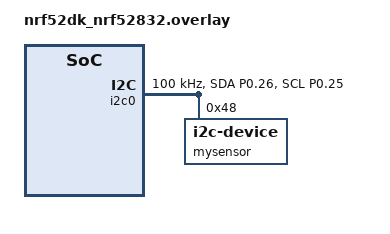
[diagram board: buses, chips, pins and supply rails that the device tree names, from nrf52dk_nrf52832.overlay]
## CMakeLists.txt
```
# SPDX-License-Identifier: Apache-2.0

cmake_minimum_required(VERSION 3.20.0)
find_package(Zephyr REQUIRED HINTS $ENV{ZEPHYR_BASE})
project(blinky)

target_sources(app PRIVATE src/main.c)
# zephyr_library_sources(
#     src/ads1115.c
# )
```

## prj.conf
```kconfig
CONFIG_GPIO=y
CONFIG_I2C=y
CONFIG_FPU=y
```

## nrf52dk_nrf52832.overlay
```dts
&i2c0 {
    compatible = "nordic,nrf-twim";
    pinctrl-0 = <&i2c0_default>;
    pinctrl-1 = <&i2c0_sleep>;
    pinctrl-names = "default", "sleep";
    status = "okay";
    clock-frequency = <I2C_BITRATE_STANDARD>;  // 100kHz I2C speed

    mysensor: mysensor@48 {
        status = "okay";
        compatible = "i2c-device";
        reg = <0x48>;        // ADS1115 default I²C address
        label = "mysensor";
        // repeatability = <2>;
    };
};
&pinctrl {
    uart0_default: uart0_default {
        group1 {
            psels = <NRF_PSEL(UART_TX, 0, 24)>,
                    <NRF_PSEL(UART_RX, 0, 23)>,
                    <NRF_PSEL(UART_RTS, 0, 5)>,
                    <NRF_PSEL(UART_CTS, 0, 7)>;
        };
    };

    uart0_sleep: uart0_sleep {
        group1 {
            psels = <NRF_PSEL(UART_TX, 0, 24)>,
                    <NRF_PSEL(UART_RX, 0, 23)>,
                    <NRF_PSEL(UART_RTS, 0, 5)>,
                    <NRF_PSEL(UART_CTS, 0, 7)>;
            low-power-enable;
        };
    };

    i2c0_default: i2c0_default {
        group1 {
            psels = <NRF_PSEL(TWIM_SDA, 0, 26)>,
                    <NRF_PSEL(TWIM_SCL, 0, 25)>;
        };
    };

    i2c0_sleep: i2c0_sleep {
        group1 {
            psels = <NRF_PSEL(TWIM_SDA, 0, 26)>,
                    <NRF_PSEL(TWIM_SCL, 0, 25)>;
            low-power-enable;
        };
    };
};
```

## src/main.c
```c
#include <zephyr/kernel.h>
#include <zephyr/device.h>
#include <zephyr/drivers/i2c.h>
#include <stdio.h>

#define ADS1115_ADDR 0x48
#define I2C0_NODE DT_NODELABEL(mysensor)
static const struct i2c_dt_spec i2c_dev = I2C_DT_SPEC_GET(I2C0_NODE);

// Configure ADS1115 for continuous mode, AIN0, ±0.512V, 250 SPS
uint16_t ads1115_read_adc()
{
    uint8_t config[3] = {0x01, 0xC3, 0x83};
    // 0xC3 = AIN0, PGA ±0.512V, continuous mode
    // 0x83 = 250 SPS (datasheet Table 8)

    uint8_t read_buf[2] = {0};
    uint8_t reg_pointer = 0x00;

    // Write config
    if (i2c_write(i2c_dev.bus, config, 3, ADS1115_ADDR) != 0)
    {
        printk("I2C write failed\n");
        return 0;
    }

    // Small delay for conversion to start
    k_sleep(K_MSEC(4)); // ~250 SPS → 4 ms per sample

    // Read conversion register
    if (i2c_write_read(i2c_dev.bus, ADS1115_ADDR, &reg_pointer, 1, read_buf, 2) != 0)
    {
        printk("I2C read failed\n");
        return 0;
    }

    return (read_buf[0] << 8) | read_buf[1];
}

void main(void)
{
    if (!i2c_dev.bus)
    {
        printk("Failed to get I2C device\n");
        return;
    }

    while (1)
    {
        uint32_t sum = 0;
        int samples = 8;  // average 8 samples for stability

        for (int i = 0; i < samples; i++)
        {
            sum += ads1115_read_adc();
            k_sleep(K_MSEC(4)); // wait one conversion at 250 SPS
        }

        uint16_t adc_value = sum / samples;
        float voltage = (adc_value * 0.512 * 2) / 32768.0f;
        // ±0.512 V full scale, so LSB = 0.000015625 V

        printk("ADC Value: %d, Voltage: %.6f V\n", adc_value, voltage);
        k_sleep(K_MSEC(100)); // print every 100 ms
    }
}

// #include <zephyr/kernel.h>
// #include <zephyr/device.h>
// #include <zephyr/devicetree.h>
// #include <zephyr/drivers/i2c.h>
// #include <zephyr/sys/printk.h>

// #define ADS1115_ADDR 0x48
// #define I2C_NODE DT_NODELABEL(mysensor)
// static const struct i2c_dt_spec i2c_dev = I2C_DT_SPEC_GET(I2C_NODE);

// #define ADS1115_REG_CONVERT 0x00
// #define ADS1115_REG_CONFIG 0x01

// // LSB for ±0.256 V range
// #define ADS1115_LSB_mV 0.0078125f // 7.8125 µV

// // ADS1115 config: AIN0, ±0.256 V, continuous, 250 SPS, comparator off
// static const uint16_t ADS1115_CFG = 0x4AA3; // see breakdown above

// static int ads1115_write_config(uint16_t cfg)
// {
//     uint8_t buf[3] = {ADS1115_REG_CONFIG, (uint8_t)(cfg >> 8), (uint8_t)(cfg & 0xFF)};
//     return i2c_write_dt(&i2c_dev, buf, sizeof(buf));
// }

// static int16_t ads1115_read_raw(void)
// {
//     uint8_t reg = ADS1115_REG_CONVERT;
//     uint8_t data[2];
//     if (i2c_write_read_dt(&i2c_dev, &reg, 1, data, 2) != 0)
//         return INT16_MIN;
//     return (int16_t)((data[0] << 8) | data[1]);
// }

// void main(void)
// {
//     if (!device_is_ready(i2c_dev.bus))
//     {
//         printk("I2C bus not ready!\n");
//         return;
//     }

//     if (ads1115_write_config(ADS1115_CFG) != 0)
//     {
//         printk("ADS1115 config write failed\n");
//         return;
//     }

//     // One small delay to let the first conversion complete at 250 SPS (~4 ms)
//     k_msleep(5);

//     while (1)
//     {
//         int32_t sum = 0;
//         const int N = 8;

//         for (int i = 0; i < N; i++)
//         {
//             int16_t raw = ads1115_read_raw();
//             if (raw == INT16_MIN)
//             {
//                 printk("ADC read failed\n");
//                 continue;
//             }
//             sum += raw;
//             k_msleep(4); // ~1 conversion interval at 250 SPS
//         }

//         float avg_raw = sum / (float)N;
//         float voltage_mV = avg_raw * ADS1115_LSB_mV;

//         printk("ADC Value: %6.0f, Voltage: %.3f mV\n", avg_raw, voltage_mV);

//         // If you see values approaching ±256 mV (clip risk), raise PGA to ±0.512 V.
//         k_msleep(100);
//     }
// }
```
